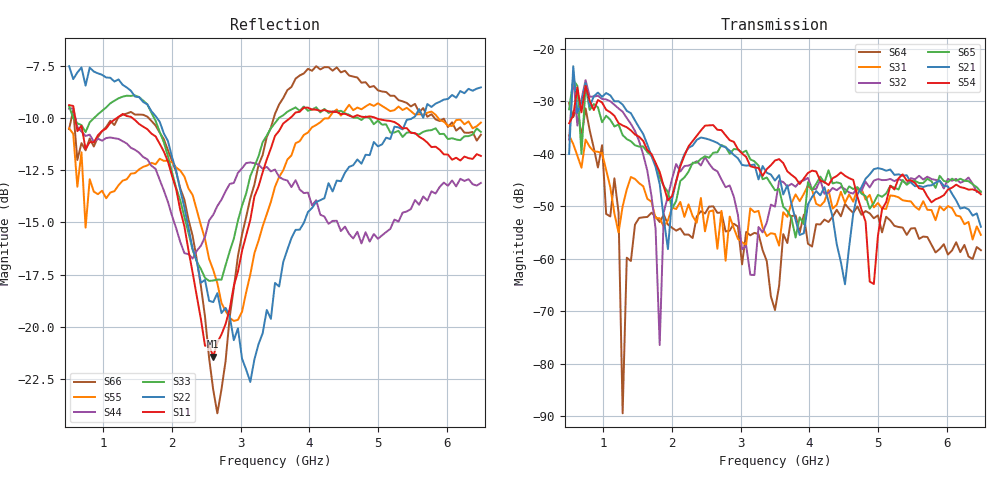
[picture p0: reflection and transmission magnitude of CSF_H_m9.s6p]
!Keysight Technologies,M9804A,MY58100912,A.14.10.03
!Date: Thursday, April 27, 2023 10:28:33
!Correction: S11(C  6-Port  )
!S12(C  6-Port  )
!S13(C  6-Port  )
!S14(C  6-Port  )
!S15(C  6-Port  )
!S16(C  6-Port  )
!S21(C  6-Port  )
!S22(C  6-Port  )
!S23(C  6-Port  )
!S24(C  6-Port  )
!S25(C  6-Port  )
!S26(C  6-Port  )
!S31(C  6-Port  )
!S32(C  6-Port  )
!S33(C  6-Port  )
!S34(C  6-Port  )
!S35(C  6-Port  )
!S36(C  6-Port  )
!S41(C  6-Port  )
!S42(C  6-Port  )
!S43(C  6-Port  )
!S44(C  6-Port  )
!S45(C  6-Port  )
!S46(C  6-Port  )
!S51(C  6-Port  )
!S52(C  6-Port  )
!S53(C  6-Port  )
!S54(C  6-Port  )
!S55(C  6-Port  )
!S56(C  6-Port  )
!S61(C  6-Port  )
!S62(C  6-Port  )
!S63(C  6-Port  )
!S64(C  6-Port  )
!S65(C  6-Port  )
!S66(C  6-Port  )
!S6P File: Measurement: :
# Hz S  RI  R 50
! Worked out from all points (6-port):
!   101 points, 500 MHz to 6.5 GHz, reference 50 ohm
!   strongest paths, dB at 500 MHz, 2 GHz, 3.5 GHz, 5 GHz, 6.5 GHz:
!     S54: -34.2, -48.1, -41.3, -55.6, -47.7
!     S21: -40.1, -48.7, -45.1, -42.7, -53.9
!     S65: -31.6, -50.4, -47.0, -47.8, -47.3
!     S32: -37.3, -44.8, -50.1, -44.8, -47.2
!     S31: -36.5, -50.2, -55.3, -49.4, -55.5
!     S64: -30.4, -54.1, -69.8, -51.7, -58.4
!   lowest |S11| = -21.4 dB at 2.6 GHz (marker M1), VSWR 1.19, Z = 42.5 + j2.16 ohm
!   |S11| at or under -10 dB: 589.3 MHz to 1.19 GHz (601.1 MHz wide, 67.6 % of centre); 1.426 GHz to 3.716 GHz (2.29 GHz wide, 89.1 % of centre); 4.975 GHz to end of sweep
